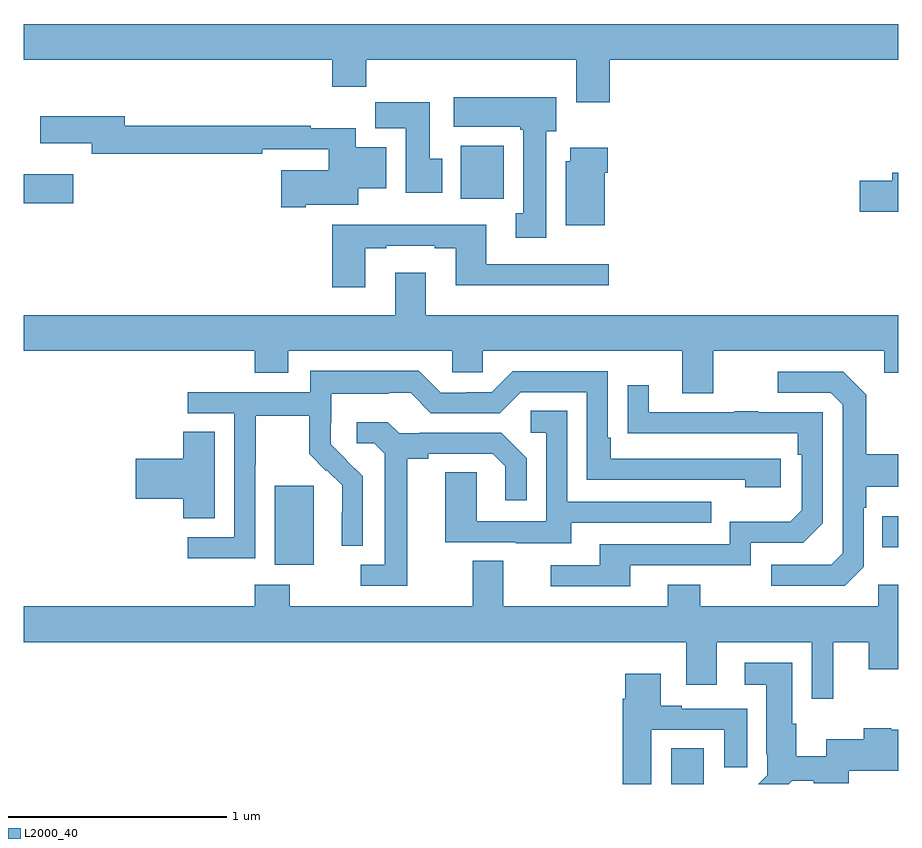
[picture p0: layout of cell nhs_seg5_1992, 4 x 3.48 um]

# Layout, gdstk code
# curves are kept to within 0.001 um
import gdstk
lib = gdstk.Library(unit=1e-6, precision=1e-09)
def R(c, l, rs):  # rectangles x0, y0, x1, y1
    for r in rs: c.add(gdstk.rectangle(r[:2], r[2:], *l))
def P(c, l, *ps):  # polygons
    for p in ps: c.add(gdstk.Polygon(p, *l))
L2000_40 = (2000, 40)

nhs_seg5_1992 = lib.new_cell('nhs_seg5_1992')
R(nhs_seg5_1992, L2000_40, [(231.962,834.799,232.111,834.962), (230.147,835.802,230.326,836.163), (232.927,835.883,233,836.023), (229,837.455,229.225,837.589), (230.999,837.476,231.196,837.718)])
P(nhs_seg5_1992, L2000_40, [(231.68,838.112),(233,838.112),(233,838.276),(229,838.276),(229,838.112),(230.411,838.112),(230.411,837.988),(230.567,837.988),(230.567,838.112),(231.527,838.112),(231.527,837.918),(231.68,837.918)],
  [(231.391,837.786),(231.436,837.786),(231.436,837.94),(230.967,837.94),(230.967,837.806),(231.271,837.806),(231.271,837.793),(231.284,837.793),(231.284,837.41),(231.251,837.41),(231.251,837.297),(231.391,837.297)],
  [(230.914,837.66),(230.857,837.66),(230.857,837.919),(230.608,837.919),(230.608,837.8),(230.747,837.8),(230.747,837.504),(230.914,837.504)],
  [(230.29,837.449),(230.53,837.449),(230.53,837.524),(230.659,837.524),(230.659,837.712),(230.518,837.712),(230.518,837.8),(230.312,837.8),(230.312,837.811),(229.462,837.811),(229.462,837.853),(229.074,837.853),(229.074,837.731),(229.31,837.731),(229.31,837.682),(230.09,837.682),(230.09,837.702),(230.396,837.702),(230.396,837.607),(230.178,837.607),(230.178,837.437),(230.29,837.437)],
  [(231.658,837.596),(231.671,837.596),(231.671,837.709),(231.5,837.709),(231.5,837.648),(231.479,837.648),(231.479,837.356),(231.658,837.356)],
  [(233,837.596),(232.973,837.596),(232.973,837.56),(232.824,837.56),(232.824,837.418),(233,837.418)],
  [(230.563,837.249),(230.659,837.249),(230.659,837.261),(230.879,837.261),(230.879,837.249),(230.975,837.249),(230.975,837.08),(231.676,837.08),(231.676,837.177),(231.115,837.177),(231.115,837.358),(230.411,837.358),(230.411,837.072),(230.563,837.072)],
  [(230.839,837.139),(230.699,837.139),(230.699,836.944),(229,836.944),(229,836.78),(230.057,836.78),(230.057,836.681),(230.209,836.681),(230.209,836.78),(230.961,836.78),(230.961,836.682),(231.099,836.682),(231.099,836.78),(232.013,836.78),(232.013,836.586),(232.153,836.586),(232.153,836.78),(232.937,836.78),(232.937,836.681),(233,836.681),(233,836.944),(230.839,836.944)],
  [(230.058,836.26),(230.061,836.26),(230.061,836.484),(230.305,836.484),(230.305,836.309),(230.382,836.232),(230.385,836.235),(230.456,836.165),(230.456,836.042),(230.454,836.042),(230.454,835.888),(230.55,835.888),(230.55,836.206),(230.404,836.354),(230.404,836.451),(230.406,836.451),(230.406,836.585),(230.669,836.585),(230.669,836.589),(230.769,836.589),(230.862,836.496),(231.177,836.496),(231.273,836.592),(231.576,836.592),(231.576,836.19),(232.301,836.19),(232.301,836.156),(232.462,836.156),(232.462,836.286),(231.685,836.286),(231.685,836.383),(231.672,836.383),(231.672,836.688),(231.237,836.688),(231.141,836.592),(231.023,836.592),(231.023,836.589),(230.907,836.589),(230.807,836.689),(230.31,836.689),(230.31,836.592),(229.749,836.592),(229.749,836.496),(229.962,836.496),(229.962,835.929),(229.749,835.929),(229.749,835.831),(230.058,835.831)],
  [(232.842,835.794),(232.842,836.063),(232.855,836.063),(232.855,836.159),(233,836.159),(233,836.307),(232.855,836.307),(232.855,836.579),(232.749,836.685),(232.449,836.685),(232.449,836.589),(232.692,836.589),(232.746,836.535),(232.746,835.854),(232.695,835.803),(232.419,835.803),(232.419,835.707),(232.755,835.707)],
  [(231.775,835.8),(232.326,835.8),(232.326,835.902),(232.566,835.902),(232.656,835.992),(232.656,836.499),(232.361,836.499),(232.361,836.504),(232.249,836.504),(232.249,836.499),(231.859,836.499),(231.859,836.623),(231.763,836.623),(231.763,836.404),(232.54,836.403),(232.54,836.306),(232.56,836.306),(232.56,836.052),(232.507,835.999),(232.23,835.999),(232.23,835.896),(231.635,835.896),(231.635,835.8),(231.411,835.8),(231.411,835.704),(231.775,835.704)],
  [(231.505,835.995),(232.145,835.995),(232.145,836.091),(231.486,836.091),(231.486,836.507),(231.318,836.507),(231.318,836.406),(231.39,836.406),(231.39,836.001),(231.072,836.001),(231.072,836.225),(230.927,836.225),(230.927,835.905),(231.251,835.905),(231.251,835.901),(231.505,835.901)],
  [(230.755,836.288),(230.851,836.288),(230.851,836.31),(231.146,836.31),(231.203,836.253),(231.203,836.097),(231.3,836.097),(231.3,836.29),(231.184,836.406),(230.812,836.406),(230.812,836.403),(230.718,836.403),(230.666,836.455),(230.523,836.455),(230.523,836.358),(230.604,836.358),(230.651,836.311),(230.651,835.803),(230.541,835.803),(230.541,835.707),(230.755,835.707)],
  [(229.873,836.411),(229.73,836.411),(229.73,836.288),(229.512,836.288),(229.512,836.105),(229.73,836.105),(229.73,836.014),(229.873,836.014)],
  [(232.702,835.448),(232.865,835.448),(232.865,835.324),(233,835.324),(233,835.711),(232.908,835.711),(232.908,835.612),(232.095,835.612),(232.095,835.711),(231.947,835.711),(231.947,835.612),(231.193,835.612),(231.193,835.82),(231.053,835.82),(231.053,835.612),(230.217,835.612),(230.217,835.711),(230.057,835.711),(230.057,835.612),(229,835.612),(229,835.448),(232.031,835.448),(232.031,835.254),(232.171,835.254),(232.171,835.448),(232.605,835.448),(232.605,835.188),(232.702,835.188)],
  [(232.515,834.815),(232.614,834.815),(232.614,834.803),(232.775,834.803),(232.775,834.86),(233,834.86),(233,835.048),(232.968,835.048),(232.968,835.054),(232.843,835.054),(232.843,835.003),(232.671,835.003),(232.671,834.925),(232.534,834.925),(232.534,835.074),(232.516,835.074),(232.516,835.354),(232.299,835.354),(232.299,835.253),(232.397,835.253),(232.397,834.934),(232.401,834.934),(232.401,834.84),(232.36,834.799),(232.499,834.799)],
  [(231.871,835.047),(232.205,835.047),(232.205,834.876),(232.309,834.876),(232.309,835.143),(232.009,835.143),(232.009,835.156),(231.913,835.156),(231.913,835.303),(231.752,835.303),(231.752,835.19),(231.74,835.19),(231.74,834.799),(231.871,834.799)])

lib.write_gds('nhs_seg5_1992.gds')
